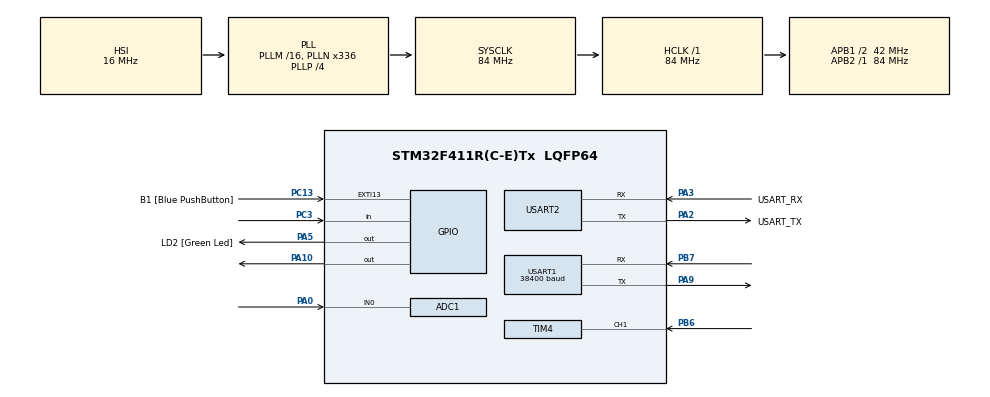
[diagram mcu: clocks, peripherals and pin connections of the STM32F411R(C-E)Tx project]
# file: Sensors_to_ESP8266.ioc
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ADC1.Channel-0\#ChannelRegularConversion=ADC_CHANNEL_0
ADC1.NbrOfConversionFlag=1
ADC1.Rank-0\#ChannelRegularConversion=1
ADC1.SamplingTime-0\#ChannelRegularConversion=ADC_SAMPLETIME_3CYCLES
ADC1.master=1
Mcu.Family=STM32F4
Mcu.Name=STM32F411R(C-E)Tx
Mcu.Package=LQFP64
NVIC.PriorityGroup=NVIC_PRIORITYGROUP_0
NVIC.TIM4_IRQn=true\:0\:0\:false\:false\:true\:true\:true
PA0-WKUP.Signal=ADCx_IN0
PA10.Signal=GPIO_Output
PA13.GPIO_Label=TMS
PA13.Mode=Serial_Wire
PA13.Signal=SYS_JTMS-SWDIO
PA14.GPIO_Label=TCK
PA14.Mode=Serial_Wire
PA14.Signal=SYS_JTCK-SWCLK
PA2.GPIO_Label=USART_TX
PA2.Mode=Asynchronous
PA2.Signal=USART2_TX
PA3.GPIO_Label=USART_RX
PA3.Mode=Asynchronous
PA3.Signal=USART2_RX
PA5.GPIO_Label=LD2 [Green Led]
PA5.Signal=GPIO_Output
PA9.Mode=Asynchronous
PA9.Signal=USART1_TX
PB3.GPIO_Label=SWO
PB3.Signal=SYS_JTDO-SWO
PB6.Signal=S_TIM4_CH1
PB7.Mode=Asynchronous
PB7.Signal=USART1_RX
PC13-ANTI_TAMP.GPIO_Label=B1 [Blue PushButton]
PC13-ANTI_TAMP.GPIO_ModeDefaultEXTI=GPIO_MODE_IT_FALLING
PC13-ANTI_TAMP.Signal=GPXTI13
PC14-OSC32_IN.Mode=LSE-External-Oscillator
PC14-OSC32_IN.Signal=RCC_OSC32_IN
PC15-OSC32_OUT.Mode=LSE-External-Oscillator
PC15-OSC32_OUT.Signal=RCC_OSC32_OUT
PC3.Signal=GPIO_Input
PH0\ -\ OSC_IN.Mode=HSE-External-Clock-Source
PH0\ -\ OSC_IN.Signal=RCC_OSC_IN
PH1\ -\ OSC_OUT.Mode=HSE-External-Clock-Source
PH1\ -\ OSC_OUT.Signal=RCC_OSC_OUT
ProjectManager.HeapSize=0x200
ProjectManager.StackSize=0x400
ProjectManager.TargetToolchain=STM32CubeIDE
RCC.48MHZClocksFreq_Value=84000000
RCC.AHBFreq_Value=84000000
RCC.APB1CLKDivider=RCC_HCLK_DIV2
RCC.APB1Freq_Value=42000000
RCC.APB1TimFreq_Value=84000000
RCC.APB2Freq_Value=84000000
RCC.APB2TimFreq_Value=84000000
RCC.CortexFreq_Value=84000000
RCC.FLatency-AdvancedSettings=FLASH_LATENCY_2
RCC.HCLKFreq_Value=84000000
RCC.HSE_VALUE=8000000
RCC.HSI_VALUE=16000000
RCC.PLLN=336
RCC.PLLP=RCC_PLLP_DIV4
RCC.SYSCLKFreq_VALUE=84000000
RCC.SYSCLKSource=RCC_SYSCLKSOURCE_PLLCLK
RCC.VCOOutputFreq_Value=336000000
SH.ADCx_IN0.0=ADC1_IN0,IN0
SH.S_TIM4_CH1.0=TIM4_CH1,Input_Capture1_from_TI1
TIM3.Prescaler=83
TIM4.Channel-Input_Capture1_from_TI1=TIM_CHANNEL_1
TIM4.ICPolarity_CH1=TIM_INPUTCHANNELPOLARITY_BOTHEDGE
TIM4.Prescaler=83
USART1.BaudRate=38400
USART1.VirtualMode=VM_ASYNC
USART2.VirtualMode=VM_ASYNC
VP_TIM3_VS_ClockSourceINT.Mode=Internal
board=NUCLEO-F411RE

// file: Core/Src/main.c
/* USER CODE BEGIN Header */
/**
  ******************************************************************************
  * @file           : main.c
  * @brief          : Main program body
  ******************************************************************************
  * @attention
  *
  * Copyright (c) 2022 STMicroelectronics.
  * All rights reserved.
  *
  * This software is licensed under terms that can be found in the LICENSE file
  * in the root directory of this software component.
  * If no LICENSE file comes with this software, it is provided AS-IS.
  *
  ******************************************************************************
  */
/* USER CODE END Header */
#include "main.h"

ADC_HandleTypeDef hadc1;

TIM_HandleTypeDef htim3;
TIM_HandleTypeDef htim4;

UART_HandleTypeDef huart1;
UART_HandleTypeDef huart2;

void SystemClock_Config(void);
static void MX_GPIO_Init(void);
static void MX_USART2_UART_Init(void);
static void MX_TIM4_Init(void);
static void MX_TIM3_Init(void);
static void MX_ADC1_Init(void);
static void MX_USART1_UART_Init(void);

/* USER CODE BEGIN 0 */

/*  Global Variables */

float DISTANCE = -1.0;
int   LDRVALUE = -1.0;
int   PIRDTCTD = -1 ;

/* -------------------------------*/

/* Ultrasonic sensor reading and helper functions */
void delay_us (uint16_t us){
    __HAL_TIM_SET_COUNTER(&htim3,0);             // set the counter value a 0
    while (__HAL_TIM_GET_COUNTER(&htim3) < us);  // wait for the counter to reach the us input in the parameter
}
void HCSR04_Read(){
	HAL_GPIO_WritePin(GPIOA, GPIO_PIN_10, 0);
	delay_us(2);
	HAL_GPIO_WritePin(GPIOA, GPIO_PIN_10, 1);
	delay_us(10);
	HAL_GPIO_WritePin(GPIOA, GPIO_PIN_10, 0);

	__HAL_TIM_ENABLE_IT(&htim4, TIM_IT_CC1);
	HAL_Delay(100);
}

uint32_t counter1 = 0;
uint32_t counter2 = 0;
uint32_t timeDiff = 0;
int risingEdgeCaptured = 0;
void HAL_TIM_IC_CaptureCallback(TIM_HandleTypeDef *htim){
	if (htim->Channel == HAL_TIM_ACTIVE_CHANNEL_1){
		if (risingEdgeCaptured == 0){
			counter1 = HAL_TIM_ReadCapturedValue(htim, TIM_CHANNEL_1);
			risingEdgeCaptured = 1;
		}
		else{
			counter2 = HAL_TIM_ReadCapturedValue(htim, TIM_CHANNEL_1);

			if (counter2 > counter1){
				timeDiff = counter2 - counter1;
			}
			else{
				timeDiff = 65536 + counter2 - counter1;
			}

			DISTANCE = (timeDiff / 58.2);

			__HAL_TIM_SET_COUNTER(htim, 0);  // reset the counter
			risingEdgeCaptured = 0; 		 // reset rising edge captured
			__HAL_TIM_DISABLE_IT(htim, TIM_IT_CC1);
		}

	}
}

/*---------------------------------------------*/

/* Passive Sensors Reading -> Update Global Variables */
void LDR_Read(){
	  HAL_ADC_Start(&hadc1);
	  if (HAL_ADC_PollForConversion(&hadc1, 50) == HAL_OK) {
		  LDRVALUE = HAL_ADC_GetValue(&hadc1);
	  }
}
void PIR_Read(){
	PIRDTCTD = HAL_GPIO_ReadPin(GPIOC, GPIO_PIN_3);
}
/*---------------------------------------------*/

/* UART Printing */
void print(char* str){
	HAL_UART_Transmit(&huart2, str, strlen(str), 50);
}
void print2(char* str, UART_HandleTypeDef *huart){
	HAL_UART_Transmit(huart, str, strlen(str), 50);
}
/*---------------------------------------------*/

/* USER CODE END 0 */

int main(void)
{

  /* MCU Configuration--------------------------------------------------------*/

  /* Reset of all peripherals, Initializes the Flash interface and the Systick. */
  HAL_Init();

  /* Configure the system clock */
  SystemClock_Config();

  /* Initialize all configured peripherals */
  MX_GPIO_Init();
  MX_USART2_UART_Init();
  MX_TIM4_Init();
  MX_TIM3_Init();
  MX_ADC1_Init();
  MX_USART1_UART_Init();
  /* USER CODE BEGIN 2 */
  HAL_TIM_Base_Start(&htim3);
  HAL_TIM_IC_Start_IT(&htim4, TIM_CHANNEL_1);

  char str1[200];
  char str2[60];
  char str3[50];

  int pass1 = 0;
  int pass2 = 0;
  int pass3 = 0;

  char output[14];
  /* USER CODE END 2 */

  /* Infinite loop */
  /* USER CODE BEGIN WHILE */
  while (1)
  {
	  HCSR04_Read();
	  if (DISTANCE >= 3.0 && DISTANCE <= 405.0){
		  sprintf(str1, "distance = %04.2f\r\n", DISTANCE);
		  print(str1);

		  pass1 = 1;
	  }

	  LDR_Read();
	  if(LDRVALUE >= 10){
		  sprintf(str3, "LDR val = %04d \r\n", LDRVALUE);
		  print(str3);

		  pass2 = 1;
	  }
	  PIR_Read();
	  pass3 = 1;
	  if (pass1 || pass2 || pass3){
		  sprintf(output, "%06.2f#%04d#%dx", DISTANCE, LDRVALUE, PIRDTCTD);
//		  sprintf(output, "%.2f#%d#%dx", DISTANCE, LDRVALUE, PIRDTCTD);
	  }
	  print2(output, &huart1);
	  print(output);
	  print("\r\n-----------\r\n");

	  HAL_Delay(300);

	  pass1 = 0;
	  pass2 = 0;
    /* USER CODE END WHILE */

  }
}

void SystemClock_Config(void)
{
  RCC_OscInitTypeDef RCC_OscInitStruct = {0};
  RCC_ClkInitTypeDef RCC_ClkInitStruct = {0};

  /** Configure the main internal regulator output voltage
  */
  __HAL_RCC_PWR_CLK_ENABLE();
  __HAL_PWR_VOLTAGESCALING_CONFIG(PWR_REGULATOR_VOLTAGE_SCALE1);
  /** Initializes the RCC Oscillators according to the specified parameters
  * in the RCC_OscInitTypeDef structure.
  */
  RCC_OscInitStruct.OscillatorType = RCC_OSCILLATORTYPE_HSI;
  RCC_OscInitStruct.HSIState = RCC_HSI_ON;
  RCC_OscInitStruct.HSICalibrationValue = RCC_HSICALIBRATION_DEFAULT;
  RCC_OscInitStruct.PLL.PLLState = RCC_PLL_ON;
  RCC_OscInitStruct.PLL.PLLSource = RCC_PLLSOURCE_HSI;
  RCC_OscInitStruct.PLL.PLLM = 16;
  RCC_OscInitStruct.PLL.PLLN = 336;
  RCC_OscInitStruct.PLL.PLLP = RCC_PLLP_DIV4;
  RCC_OscInitStruct.PLL.PLLQ = 4;
  if (HAL_RCC_OscConfig(&RCC_OscInitStruct) != HAL_OK)
  {
    Error_Handler();
  }
  /** Initializes the CPU, AHB and APB buses clocks
  */
  RCC_ClkInitStruct.ClockType = RCC_CLOCKTYPE_HCLK|RCC_CLOCKTYPE_SYSCLK
                              |RCC_CLOCKTYPE_PCLK1|RCC_CLOCKTYPE_PCLK2;
  RCC_ClkInitStruct.SYSCLKSource = RCC_SYSCLKSOURCE_PLLCLK;
  RCC_ClkInitStruct.AHBCLKDivider = RCC_SYSCLK_DIV1;
  RCC_ClkInitStruct.APB1CLKDivider = RCC_HCLK_DIV2;
  RCC_ClkInitStruct.APB2CLKDivider = RCC_HCLK_DIV1;

  if (HAL_RCC_ClockConfig(&RCC_ClkInitStruct, FLASH_LATENCY_2) != HAL_OK)
  {
    Error_Handler();
  }
}

static void MX_ADC1_Init(void)
{

  ADC_ChannelConfTypeDef sConfig = {0};

  /** Configure the global features of the ADC (Clock, Resolution, Data Alignment and number of conversion)
  */
  hadc1.Instance = ADC1;
  hadc1.Init.ClockPrescaler = ADC_CLOCK_SYNC_PCLK_DIV4;
  hadc1.Init.Resolution = ADC_RESOLUTION_12B;
  hadc1.Init.ScanConvMode = DISABLE;
  hadc1.Init.ContinuousConvMode = DISABLE;
  hadc1.Init.DiscontinuousConvMode = DISABLE;
  hadc1.Init.ExternalTrigConvEdge = ADC_EXTERNALTRIGCONVEDGE_NONE;
  hadc1.Init.ExternalTrigConv = ADC_SOFTWARE_START;
  hadc1.Init.DataAlign = ADC_DATAALIGN_RIGHT;
  hadc1.Init.NbrOfConversion = 1;
  hadc1.Init.DMAContinuousRequests = DISABLE;
  hadc1.Init.EOCSelection = ADC_EOC_SINGLE_CONV;
  if (HAL_ADC_Init(&hadc1) != HAL_OK)
  {
    Error_Handler();
  }
  /** Configure for the selected ADC regular channel its corresponding rank in the sequencer and its sample time.
  */
  sConfig.Channel = ADC_CHANNEL_0;
  sConfig.Rank = 1;
  sConfig.SamplingTime = ADC_SAMPLETIME_3CYCLES;
  if (HAL_ADC_ConfigChannel(&hadc1, &sConfig) != HAL_OK)
  {
    Error_Handler();
  }

}

static void MX_TIM3_Init(void)
{

  TIM_ClockConfigTypeDef sClockSourceConfig = {0};
  TIM_MasterConfigTypeDef sMasterConfig = {0};

  htim3.Instance = TIM3;
  htim3.Init.Prescaler = 83;
  htim3.Init.CounterMode = TIM_COUNTERMODE_UP;
  htim3.Init.Period = 65535;
  htim3.Init.ClockDivision = TIM_CLOCKDIVISION_DIV1;
  htim3.Init.AutoReloadPreload = TIM_AUTORELOAD_PRELOAD_DISABLE;
  if (HAL_TIM_Base_Init(&htim3) != HAL_OK)
  {
    Error_Handler();
  }
  sClockSourceConfig.ClockSource = TIM_CLOCKSOURCE_INTERNAL;
  if (HAL_TIM_ConfigClockSource(&htim3, &sClockSourceConfig) != HAL_OK)
  {
    Error_Handler();
  }
  sMasterConfig.MasterOutputTrigger = TIM_TRGO_RESET;
  sMasterConfig.MasterSlaveMode = TIM_MASTERSLAVEMODE_DISABLE;
  if (HAL_TIMEx_MasterConfigSynchronization(&htim3, &sMasterConfig) != HAL_OK)
  {
    Error_Handler();
  }

}

static void MX_TIM4_Init(void)
{

  TIM_MasterConfigTypeDef sMasterConfig = {0};
  TIM_IC_InitTypeDef sConfigIC = {0};

  htim4.Instance = TIM4;
  htim4.Init.Prescaler = 83;
  htim4.Init.CounterMode = TIM_COUNTERMODE_UP;
  htim4.Init.Period = 65535;
  htim4.Init.ClockDivision = TIM_CLOCKDIVISION_DIV1;
  htim4.Init.AutoReloadPreload = TIM_AUTORELOAD_PRELOAD_DISABLE;
  if (HAL_TIM_IC_Init(&htim4) != HAL_OK)
  {
    Error_Handler();
  }
  sMasterConfig.MasterOutputTrigger = TIM_TRGO_RESET;
  sMasterConfig.MasterSlaveMode = TIM_MASTERSLAVEMODE_DISABLE;
  if (HAL_TIMEx_MasterConfigSynchronization(&htim4, &sMasterConfig) != HAL_OK)
  {
    Error_Handler();
  }
  sConfigIC.ICPolarity = TIM_INPUTCHANNELPOLARITY_BOTHEDGE;
  sConfigIC.ICSelection = TIM_ICSELECTION_DIRECTTI;
  sConfigIC.ICPrescaler = TIM_ICPSC_DIV1;
  sConfigIC.ICFilter = 0;
  if (HAL_TIM_IC_ConfigChannel(&htim4, &sConfigIC, TIM_CHANNEL_1) != HAL_OK)
  {
    Error_Handler();
  }

}

static void MX_USART1_UART_Init(void)
{

  huart1.Instance = USART1;
  huart1.Init.BaudRate = 38400;
  huart1.Init.WordLength = UART_WORDLENGTH_8B;
  huart1.Init.StopBits = UART_STOPBITS_1;
  huart1.Init.Parity = UART_PARITY_NONE;
  huart1.Init.Mode = UART_MODE_TX_RX;
  huart1.Init.HwFlowCtl = UART_HWCONTROL_NONE;
  huart1.Init.OverSampling = UART_OVERSAMPLING_16;
  if (HAL_UART_Init(&huart1) != HAL_OK)
  {
    Error_Handler();
  }

}

static void MX_USART2_UART_Init(void)
{

  huart2.Instance = USART2;
  huart2.Init.BaudRate = 115200;
  huart2.Init.WordLength = UART_WORDLENGTH_8B;
  huart2.Init.StopBits = UART_STOPBITS_1;
  huart2.Init.Parity = UART_PARITY_NONE;
  huart2.Init.Mode = UART_MODE_TX_RX;
  huart2.Init.HwFlowCtl = UART_HWCONTROL_NONE;
  huart2.Init.OverSampling = UART_OVERSAMPLING_16;
  if (HAL_UART_Init(&huart2) != HAL_OK)
  {
    Error_Handler();
  }

}

static void MX_GPIO_Init(void)
{
  GPIO_InitTypeDef GPIO_InitStruct = {0};

  /* GPIO Ports Clock Enable */
  __HAL_RCC_GPIOC_CLK_ENABLE();
  __HAL_RCC_GPIOH_CLK_ENABLE();
  __HAL_RCC_GPIOA_CLK_ENABLE();
  __HAL_RCC_GPIOB_CLK_ENABLE();

  /*Configure GPIO pin Output Level */
  HAL_GPIO_WritePin(GPIOA, LD2_Pin|GPIO_PIN_10, GPIO_PIN_RESET);

  /*Configure GPIO pin : B1_Pin */
  GPIO_InitStruct.Pin = B1_Pin;
  GPIO_InitStruct.Mode = GPIO_MODE_IT_FALLING;
  GPIO_InitStruct.Pull = GPIO_NOPULL;
  HAL_GPIO_Init(B1_GPIO_Port, &GPIO_InitStruct);

  /*Configure GPIO pin : PC3 */
  GPIO_InitStruct.Pin = GPIO_PIN_3;
  GPIO_InitStruct.Mode = GPIO_MODE_INPUT;
  GPIO_InitStruct.Pull = GPIO_NOPULL;
  HAL_GPIO_Init(GPIOC, &GPIO_InitStruct);

  /*Configure GPIO pins : LD2_Pin PA10 */
  GPIO_InitStruct.Pin = LD2_Pin|GPIO_PIN_10;
  GPIO_InitStruct.Mode = GPIO_MODE_OUTPUT_PP;
  GPIO_InitStruct.Pull = GPIO_NOPULL;
  GPIO_InitStruct.Speed = GPIO_SPEED_FREQ_LOW;
  HAL_GPIO_Init(GPIOA, &GPIO_InitStruct);

}

void Error_Handler(void)
{
  __disable_irq();
  while (1)
  {
  }
}
